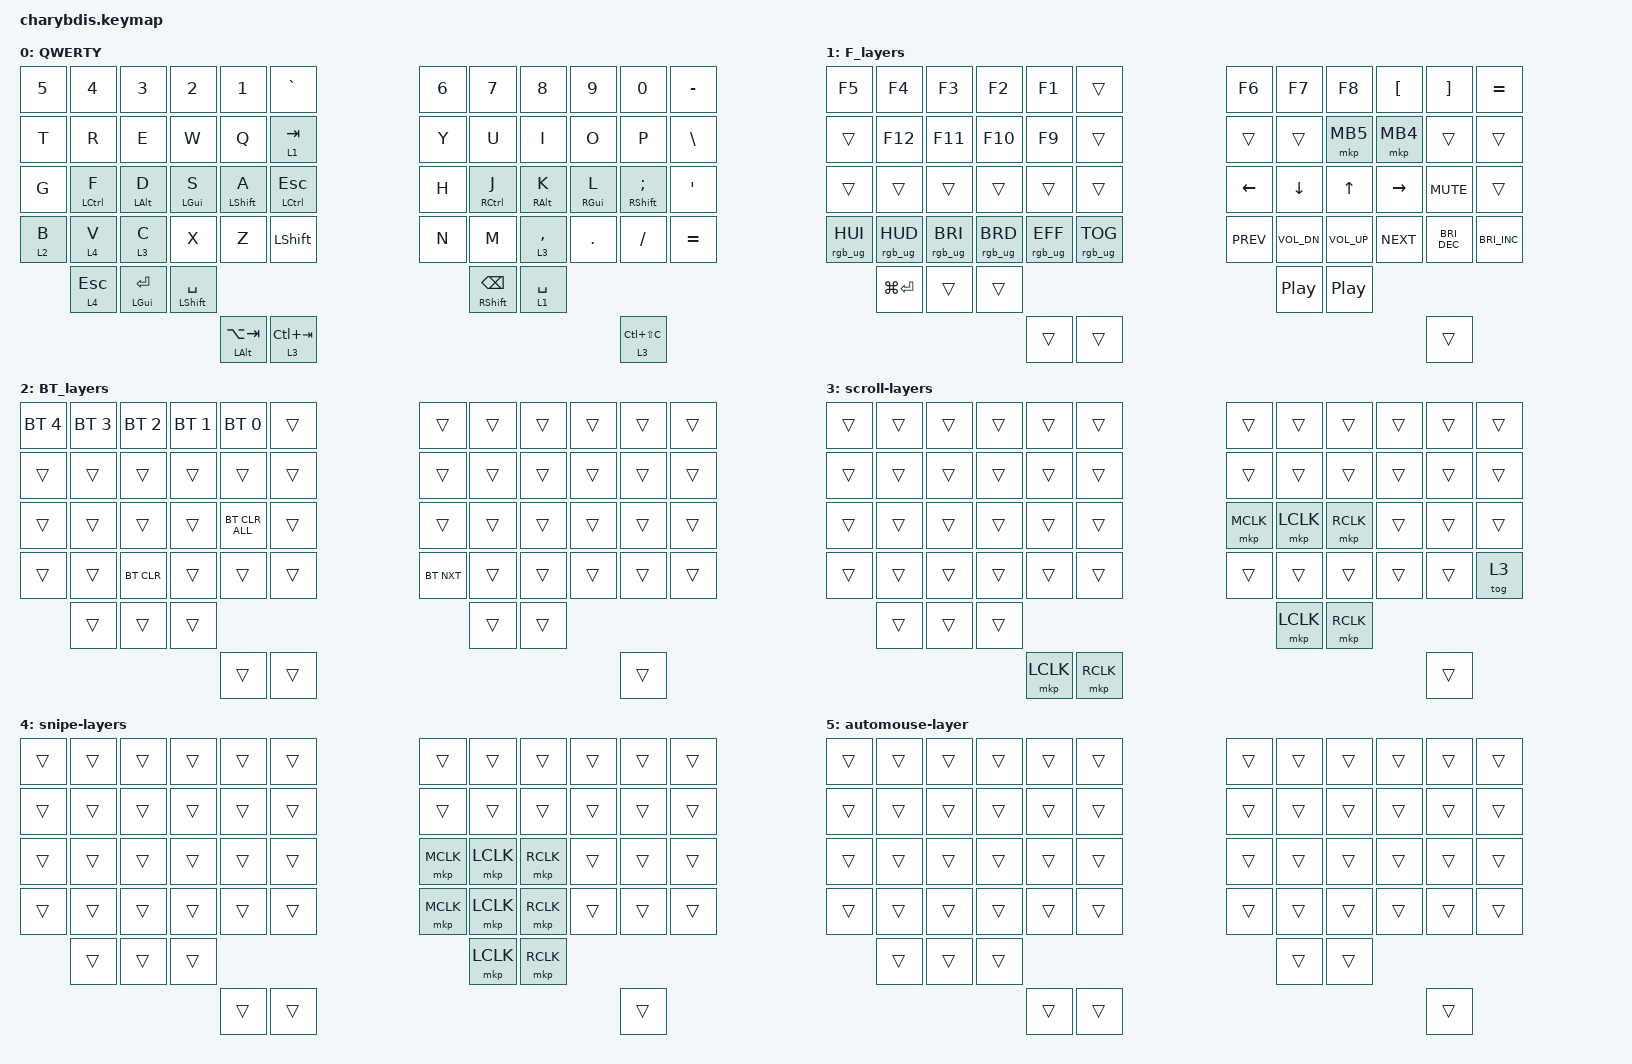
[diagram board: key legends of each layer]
#include <behaviors.dtsi>
#include <dt-bindings/zmk/bt.h>
#include <dt-bindings/zmk/keys.h>
#include <dt-bindings/zmk/pointing.h>
#include <dt-bindings/zmk/rgb.h>

&lt { quick-tap-ms = <150>; };

&mt { quick-tap-ms = <150>; };

/ {
    macros {
        To1_macro: To1_macro {
            compatible = "zmk,behavior-macro";
            #binding-cells = <0>;
            bindings = <&rgb_ug RGB_EFF &rgb_ug RGB_COLOR_HSB(128,100,50) &to 1>;
        };

        To0_macro: To0_macro {
            compatible = "zmk,behavior-macro";
            #binding-cells = <0>;
            bindings = <&rgb_ug RGB_EFR &to 0>;
        };

        To2_macro: To2_macro {
            compatible = "zmk,behavior-macro";
            #binding-cells = <0>;
            bindings =
                <&to 2>,
                <&macro_wait_time 30>,
                <&rgb_ug RGB_COLOR_HSB(250,100,50)>;
        };
    };

    behaviors {
        lh_pht: left_positional_hold_tap {
            compatible = "zmk,behavior-hold-tap";
            #binding-cells = <2>;
            flavor = "balanced";
            tapping-term-ms = <400>;                        // <---[[produces tap if held longer than tapping-term-ms]]
            quick-tap-ms = <200>;
            bindings = <&kp>, <&kp>;

            hold-trigger-key-positions = <6 7 8 9 10 11 18 19 20 21 22 23 34 35 46 47 30 31 32 33 42 43 44 45 46 47 51 52 55 56 59>;    // <---[[right-hand keys]]
            hold-trigger-on-release;
            require-prior-idle-ms = <150>;
        };
    };

    behaviors {
        rh_pht: right_positional_hold_tap {
            compatible = "zmk,behavior-hold-tap";
            #binding-cells = <2>;
            flavor = "balanced";
            tapping-term-ms = <400>;                        // <---[[produces tap if held longer than tapping-term-ms]]
            quick-tap-ms = <200>;
            bindings = <&kp>, <&kp>;

            hold-trigger-key-positions = <0 1 2 3 4 5 12 13 14 15 16 17 24 25 26 27 28 29 36 37 38 39 40 41 48 49 50 53 54 57 58>;    // <---[[left-hand keys]]
            hold-trigger-on-release;
            require-prior-idle-ms = <150>;
        };
    };

    behaviors {
        swapper: swapper {
            compatible = "zmk,behavior-tri-state";
            #binding-cells = <0>;
            bindings = <&kt LALT>, <&kp TAB>, <&kt LALT>;

            ignored-key-positions = <24 41 49>;
        };

        tabber: tabber {
            compatible = "zmk,behavior-tri-state";
            #binding-cells = <0>;
            bindings = <&kt LCTRL>, <&kp TAB>, <&kt LCTRL>;

            ignored-key-positions = <24 41 49>;
        };
    };

    combos {
        compatible = "zmk,combos";

        left-click {
            bindings = <&mkp LCLK>;
            key-positions = <31 32>;
            layers = <5>;
        };

        right-click {
            bindings = <&mkp RCLK>;
            key-positions = <32 33>;
            layers = <5>;
        };

        middle-click {
            bindings = <&mkp MCLK>;
            key-positions = <31 33>;
            layers = <5>;
        };
    };

    keymap {
        compatible = "zmk,keymap";

        QWERTY {
            bindings = <
&kp GRAVE      &kp N1                &kp N2              &kp N3                &kp N4              &kp N5                  &kp N6                     &kp N7           &kp N8               &kp N9               &kp N0                         &kp MINUS
&lt 1 TAB      &kp Q                 &kp W               &kp E                 &kp R               &kp T                   &kp Y                      &kp U            &kp I                &kp O                &kp P                          &kp BACKSLASH
&mt LCTRL ESC  &lh_pht LEFT_SHIFT A  &lh_pht LEFT_GUI S  &lh_pht LEFT_ALT D    &lh_pht LCTRL F     &kp G                   &kp H                      &rh_pht RCTRL J  &rh_pht RIGHT_ALT K  &rh_pht RIGHT_GUI L  &rh_pht RIGHT_SHIFT SEMICOLON  &kp SQT
&kp LSHFT      &kp Z                 &kp X               &lt 3 C               &lt 4 V             &lt 2 B                 &kp N                      &kp M            &lt 3 COMMA          &kp DOT              &kp FSLH                       &kp EQUAL
                                                         &mt LEFT_SHIFT SPACE  &mt LEFT_GUI ENTER  &lt 4 ESCAPE            &mt RIGHT_SHIFT BACKSPACE  &lt 1 SPACE
                                                                               &lt 3 LC(TAB)       &mt LEFT_ALT LA(TAB)    &lt 3 LC(LS(C))
            >;
        };

        F_layers {
            bindings = <
&trans  &kp F1          &kp F2   &kp F3   &kp F4   &kp F5           &kp F6      &kp F7            &kp F8        &kp LBKT    &kp RBKT              &kp EQUAL
&trans  &kp F9          &kp F10  &kp F11  &kp F12  &trans           &trans      &trans            &mkp MB5      &mkp MB4    &trans                &trans
&trans  &trans          &trans   &trans   &trans   &trans           &kp LEFT    &kp DOWN          &kp UP        &kp RIGHT   &kp C_MUTE            &trans
&rgb_ug RGB_TOG  &rgb_ug RGB_EFF  &rgb_ug RGB_BRD  &rgb_ug RGB_BRI  &rgb_ug RGB_HUD  &rgb_ug RGB_HUI    &kp C_PREV  &kp C_VOL_DN      &kp C_VOL_UP  &kp C_NEXT  &kp C_BRIGHTNESS_DEC  &kp C_BRIGHTNESS_INC
                                 &trans   &trans   &kp LG(ENTER)    &kp C_PP    &kp C_PLAY_PAUSE
                                          &trans   &trans           &trans
            >;
        };

        BT_layers {
            bindings = <
&trans  &bt BT_SEL 0    &bt BT_SEL 1  &bt BT_SEL 2  &bt BT_SEL 3  &bt BT_SEL 4    &trans      &trans  &trans  &trans  &trans  &trans
&trans  &trans          &trans        &trans        &trans        &trans          &trans      &trans  &trans  &trans  &trans  &trans
&trans  &bt BT_CLR_ALL  &trans        &trans        &trans        &trans          &trans      &trans  &trans  &trans  &trans  &trans
&trans  &trans          &trans        &bt BT_CLR    &trans        &trans          &bt BT_NXT  &trans  &trans  &trans  &trans  &trans
                                      &trans        &trans        &trans          &trans      &trans
                                                    &trans        &trans          &trans
            >;
        };

        scroll-layers {
            bindings = <
&trans  &trans  &trans  &trans  &trans     &trans       &trans     &trans     &trans     &trans  &trans  &trans
&trans  &trans  &trans  &trans  &trans     &trans       &trans     &trans     &trans     &trans  &trans  &trans
&trans  &trans  &trans  &trans  &trans     &trans       &mkp MCLK  &mkp LCLK  &mkp RCLK  &trans  &trans  &trans
&trans  &trans  &trans  &trans  &trans     &trans       &trans     &trans     &trans     &trans  &trans  &tog 3
                        &trans  &trans     &trans       &mkp LCLK  &mkp RCLK
                                &mkp RCLK  &mkp LCLK    &trans
            >;
        };

        snipe-layers {
            bindings = <
&trans  &trans  &trans  &trans  &trans  &trans    &trans     &trans     &trans     &trans  &trans  &trans
&trans  &trans  &trans  &trans  &trans  &trans    &trans     &trans     &trans     &trans  &trans  &trans
&trans  &trans  &trans  &trans  &trans  &trans    &mkp MCLK  &mkp LCLK  &mkp RCLK  &trans  &trans  &trans
&trans  &trans  &trans  &trans  &trans  &trans    &mkp MCLK  &mkp LCLK  &mkp RCLK  &trans  &trans  &trans
                        &trans  &trans  &trans    &mkp LCLK  &mkp RCLK
                                &trans  &trans    &trans
            >;
        };

        automouse-layer {
            // Layer 5: Automouse - auto-activates when trackball moves, times out after 1000ms

            bindings = <
&trans  &trans  &trans  &trans  &trans  &trans    &trans  &trans  &trans  &trans  &trans  &trans
&trans  &trans  &trans  &trans  &trans  &trans    &trans  &trans  &trans  &trans  &trans  &trans
&trans  &trans  &trans  &trans  &trans  &trans    &trans  &trans  &trans  &trans  &trans  &trans
&trans  &trans  &trans  &trans  &trans  &trans    &trans  &trans  &trans  &trans  &trans  &trans
                        &trans  &trans  &trans    &trans  &trans
                                &trans  &trans    &trans
            >;
        };
    };
};
